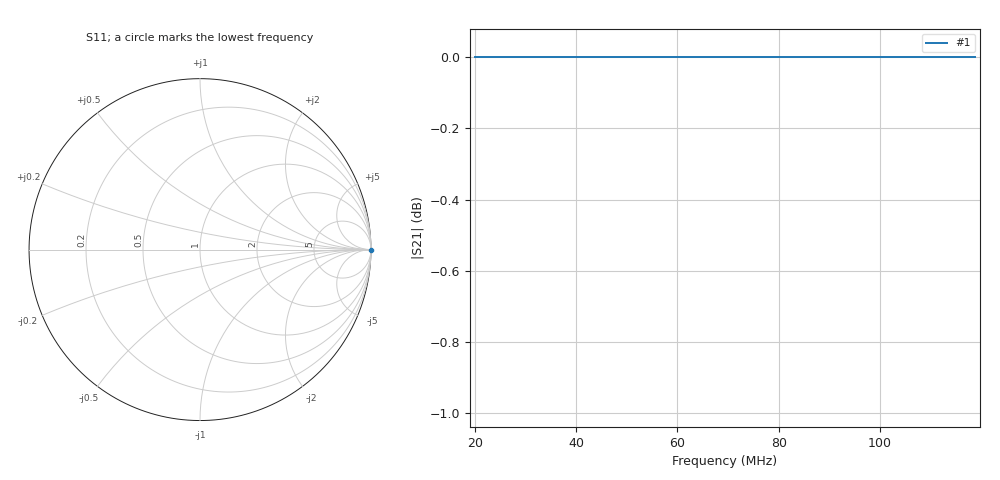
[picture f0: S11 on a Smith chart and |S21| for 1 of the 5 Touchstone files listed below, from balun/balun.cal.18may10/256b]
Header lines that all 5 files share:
! Anritsu VNA Master:  Model: MS2036C/10/77
! SN:  1601066
! Existing Calibration Information:
! TYPE:  Current Settings,  Active Cal Settings
! # POINTS:  494,  494
! START FREQ:  20.000 MHz,  20.000 MHz
! STOP FREQ:  118.797 594 MHz,  118.797 594 MHz
! SOURCE POWER:  High,  High
! IFBW:  50 Hz,  50 Hz
! AVG FACTOR:  1 ,  1
! REF PLANE 1:  0 mm,  0 mm
! REF PLANE 2:  0 mm,  0 mm
! CAL TYPE:  Full S22,  Full S22
! CAL METHOD:  SOLT,  SOLT
! CAL LINE TYPE:  Coax,  Coax
! DUT PORT 1:  K-Conn(M),  K-Conn(M)
! DUT PORT 2:  K-Conn(M),  K-Conn(M)
! CAL STATUS:  OK: Accuracy High,  --
# GHZ S DB R 50.0
! FREQ.GHZ  S11DB  S11A  S21DB  S21A  S12DB  S12A  S22DB  S22A
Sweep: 20 MHz to 118.8 MHz
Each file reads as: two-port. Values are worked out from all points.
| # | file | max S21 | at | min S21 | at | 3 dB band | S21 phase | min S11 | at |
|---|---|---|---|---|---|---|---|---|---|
| 1 | c.6b.m2.s2p | 0.00 dB | 20 MHz | 0.0 dB | 20 MHz | 20 MHz-118.8 MHz | 0 deg at 69.5 MHz | 0.0 dB | 20 MHz |
| 2 | c.6b.m3.s2p | 0.00 dB | 20 MHz | 0.0 dB | 20 MHz | 20 MHz-118.8 MHz | 0 deg at 69.5 MHz | 0.0 dB | 20 MHz |
| 3 | c.6b.m4.s2p | 0.00 dB | 20 MHz | 0.0 dB | 20 MHz | 20 MHz-118.8 MHz | 0 deg at 69.5 MHz | 0.0 dB | 20 MHz |
| 4 | c.6b.m8.duplicate.s2p | 0.00 dB | 20 MHz | 0.0 dB | 20 MHz | 20 MHz-118.8 MHz | 0 deg at 69.5 MHz | 0.0 dB | 20 MHz |
| 5 | c.6b.m9.s2p | 0.00 dB | 20 MHz | 0.0 dB | 20 MHz | 20 MHz-118.8 MHz | 0 deg at 69.5 MHz | 0.0 dB | 20 MHz |
